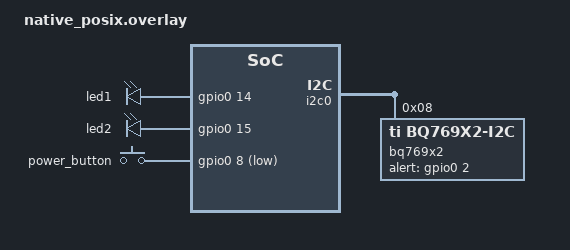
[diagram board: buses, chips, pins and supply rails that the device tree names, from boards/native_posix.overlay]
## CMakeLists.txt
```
# SPDX-License-Identifier: Apache-2.0

cmake_minimum_required(VERSION 3.20.0)
find_package(Zephyr REQUIRED HINTS $ENV{ZEPHYR_BASE})

project(bq769x2_test)

FILE(GLOB app_sources src/*.c)
target_sources(app PRIVATE ${app_sources})

add_subdirectory(../common app)
```

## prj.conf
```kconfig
# SPDX-License-Identifier: Apache-2.0

CONFIG_ZTEST=y

# Required for BMS emulation
CONFIG_EMUL=y
CONFIG_GPIO=y
CONFIG_I2C=y

CONFIG_BMS_IC=y
CONFIG_BMS_IC_MAX_THERMISTORS=2

# enable click-able absolute paths in assert messages
CONFIG_BUILD_OUTPUT_STRIP_PATHS=n
```

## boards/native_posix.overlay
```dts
/*
 * Copyright (c) The Libre Solar Project Contributors
 *
 * SPDX-License-Identifier: Apache-2.0
 */

#include <dt-bindings/bms_ic/bq769x2.h>

/ {
	pcb {
		compatible = "bms";

		type = "Native POSIX dummy";
		version-str = "v0.1";
		version-num = <1>;
	};

	chosen {
		zephyr,console = &uart0;
		zephyr,shell-uart = &uart0;
		zephyr,flash = &flash0;
	};

	leds {
		compatible = "gpio-leds";
		led1: led_0 {
			gpios = <&gpio0 14 GPIO_ACTIVE_HIGH>;
		};
		led2: led_1 {
			gpios = <&gpio0 15 GPIO_ACTIVE_HIGH>;
		};
	};

	gpio_keys {
		compatible = "gpio-keys";
		power_button: button {
			gpios = <&gpio0 8 GPIO_ACTIVE_LOW>;
		};
	};

	aliases {
		led-red = &led1;
		led-green = &led2;
		sw-pwr = &power_button;
                bms-ic = &bq769x2;
	};
};

&i2c0 {
	status = "okay";

	bq769x2: bq76952@8 {
		compatible = "ti,bq769x2-i2c";
		reg = <0x08>;
		alert-gpios = <&gpio0 2 GPIO_ACTIVE_HIGH>;
		used-cell-channels = <0xFFFF>;
		/* all NTCs configured with 18k pull-up */
		ts1-pin-config = <0x07>;
		dchg-pin-config = <0x07>;
		cell-temp-pins = <BQ769X2_PIN_TS1>;
		fet-temp-pin = <BQ769X2_PIN_DCHG>;
		board-max-current = <200>;
		shunt-resistor-uohm = <1500>;
		status = "okay";
	};
};
```

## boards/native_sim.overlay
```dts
/*
 * Copyright (c) The Libre Solar Project Contributors
 *
 * SPDX-License-Identifier: Apache-2.0
 */

#include <dt-bindings/bms_ic/bq769x2.h>

/ {
	pcb {
		compatible = "bms";

		type = "Native Simulator BMS";
		version-str = "v0.1";
		version-num = <1>;
	};

	chosen {
		zephyr,console = &uart0;
		zephyr,shell-uart = &uart0;
		zephyr,flash = &flash0;
	};

	leds {
		compatible = "gpio-leds";
		led1: led_0 {
			gpios = <&gpio0 14 GPIO_ACTIVE_HIGH>;
		};
		led2: led_1 {
			gpios = <&gpio0 15 GPIO_ACTIVE_HIGH>;
		};
	};

	gpio_keys {
		compatible = "gpio-keys";
		power_button: button {
			gpios = <&gpio0 8 GPIO_ACTIVE_LOW>;
		};
	};

	aliases {
		led-red = &led1;
		led-green = &led2;
		sw-pwr = &power_button;
		bms-ic = &bq769x2;
	};
};

&i2c0 {
	status = "okay";

	bq769x2: bq76952@8 {
		compatible = "ti,bq769x2-i2c";
		reg = <0x08>;
		alert-gpios = <&gpio0 2 GPIO_ACTIVE_HIGH>;
		used-cell-channels = <0xFFFF>;
		/* all NTCs configured with 18k pull-up */
		ts1-pin-config = <0x07>;
		dchg-pin-config = <0x07>;
		cell-temp-pins = <BQ769X2_PIN_TS1>;
		fet-temp-pin = <BQ769X2_PIN_DCHG>;
		board-max-current = <200>;
		shunt-resistor-uohm = <1500>;
		status = "okay";
	};
};
```

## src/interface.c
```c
/*
 * Copyright (c) The Libre Solar Project Contributors
 *
 * SPDX-License-Identifier: Apache-2.0
 */

#include <zephyr/drivers/emul.h>
#include <zephyr/ztest.h>

#include "bq769x2_emul.h"
#include "bq769x2_interface.h"
#include <bms/bms.h>

#include "bms_setup.h"

#include <stdio.h>
#include <time.h>

static const struct emul *bms_ic_emul = EMUL_DT_GET(DT_ALIAS(bms_ic));

extern struct bms_context bms;

ZTEST(bq769x2_interface, test_bq769x2_direct_read_u2)
{
    uint16_t u2 = 0;
    int err;

    bq769x2_emul_set_direct_mem(bms_ic_emul, 0, 0x00);
    bq769x2_emul_set_direct_mem(bms_ic_emul, 1, 0x00);
    err = bq769x2_direct_read_u2(bms.ic_dev, 0, &u2);
    zassert_equal(0, err);
    zassert_equal(0, u2);

    bq769x2_emul_set_direct_mem(bms_ic_emul, 0, 0xFF);
    bq769x2_emul_set_direct_mem(bms_ic_emul, 1, 0xFF);
    err = bq769x2_direct_read_u2(bms.ic_dev, 0, &u2);
    zassert_equal(0, err);
    zassert_equal(UINT16_MAX, u2);
}

ZTEST(bq769x2_interface, test_bq769x2_direct_read_i2)
{
    int16_t i2 = 0;
    int err;

    bq769x2_emul_set_direct_mem(bms_ic_emul, 0, 0x00);
    bq769x2_emul_set_direct_mem(bms_ic_emul, 1, 0x00);
    err = bq769x2_direct_read_i2(bms.ic_dev, 0, &i2);
    zassert_equal(0, err);
    zassert_equal(0, i2);

    bq769x2_emul_set_direct_mem(bms_ic_emul, 0, 0xFF);
    bq769x2_emul_set_direct_mem(bms_ic_emul, 1, 0xFF);
    err = bq769x2_direct_read_i2(bms.ic_dev, 0, &i2);
    zassert_equal(0, err);
    zassert_equal(-1, i2);

    bq769x2_emul_set_direct_mem(bms_ic_emul, 0, 0xFF);
    bq769x2_emul_set_direct_mem(bms_ic_emul, 1, 0x7F);
    err = bq769x2_direct_read_i2(bms.ic_dev, 0, &i2);
    zassert_equal(0, err);
    zassert_equal(INT16_MAX, i2);

    bq769x2_emul_set_direct_mem(bms_ic_emul, 0, 0x00);
    bq769x2_emul_set_direct_mem(bms_ic_emul, 1, 0x80);
    err = bq769x2_direct_read_i2(bms.ic_dev, 0, &i2);
    zassert_equal(0, err);
    zassert_equal(INT16_MIN, i2);
}

ZTEST(bq769x2_interface, test_bq769x2_subcmd_cmd_only)
{
    // reset subcommand
    uint8_t subcmd_expected[2] = { 0x12, 0x00 }; // LOWER, UPPER

    // pre-set register
    bq769x2_emul_set_direct_mem(bms_ic_emul, 0x3E, 0xFF);
    bq769x2_emul_set_direct_mem(bms_ic_emul, 0x3F, 0xFF);

    // write subcmd register via API
    int err = bq769x2_subcmd_cmd_only(bms.ic_dev, 0x0012);
    zassert_equal(0, err);

    zassert_equal(subcmd_expected[0], bq769x2_emul_get_direct_mem(bms_ic_emul, 0x3E));
    zassert_equal(subcmd_expected[1], bq769x2_emul_get_direct_mem(bms_ic_emul, 0x3F));
}

ZTEST(bq769x2_interface, test_bq769x2_datamem_read_u1)
{
    uint8_t value = 0;

    bq769x2_emul_set_data_mem(bms_ic_emul, 0x9180, 0xFF);
    bq769x2_emul_set_data_mem(bms_ic_emul, 0x9181, 0x00);
    bq769x2_emul_set_data_mem(bms_ic_emul, 0x9182, 0x00);
    bq769x2_emul_set_data_mem(bms_ic_emul, 0x9183, 0x00);

    uint8_t chk_expected = (uint8_t) ~(0x91 + 0x80 + 0xFF);

    int err = bq769x2_datamem_read_u1(bms.ic_dev, 0x9180, &value);
    zassert_equal(0, err);
    zassert_equal(UINT8_MAX, value);
    zassert_equal(chk_expected, bq769x2_emul_get_direct_mem(bms_ic_emul, 0x60));
}

ZTEST(bq769x2_interface, test_bq769x2_datamem_read_u2)
{
    uint16_t value = 0;

    bq769x2_emul_set_data_mem(bms_ic_emul, 0x9180, 0x00); // LSB
    bq769x2_emul_set_data_mem(bms_ic_emul, 0x9181, 0xFF); // MSB
    bq769x2_emul_set_data_mem(bms_ic_emul, 0x9182, 0x00);
    bq769x2_emul_set_data_mem(bms_ic_emul, 0x9183, 0x00);

    uint8_t chk_expected = (uint8_t) ~(0x91 + 0x80 + 0x00 + 0xFF);

    int err = bq769x2_datamem_read_u2(bms.ic_dev, 0x9180, &value);
    zassert_equal(0, err);
    zassert_equal(0xFF00, value);
    zassert_equal(chk_expected, bq769x2_emul_get_direct_mem(bms_ic_emul, 0x60));
}

ZTEST(bq769x2_interface, test_bq769x2_datamem_read_i1)
{
    int8_t value = 0;

    bq769x2_emul_set_data_mem(bms_ic_emul, 0x9180, 0x80);
    bq769x2_emul_set_data_mem(bms_ic_emul, 0x9181, 0x00);
    bq769x2_emul_set_data_mem(bms_ic_emul, 0x9182, 0x00);
    bq769x2_emul_set_data_mem(bms_ic_emul, 0x9183, 0x00);

    uint8_t chk_expected = (uint8_t) ~(0x91 + 0x80 + 0x80);

    int err = bq769x2_datamem_read_i1(bms.ic_dev, 0x9180, &value);
    zassert_equal(0, err);
    zassert_equal(INT8_MIN, value);
    zassert_equal(chk_expected, bq769x2_emul_get_direct_mem(bms_ic_emul, 0x60));
}

ZTEST(bq769x2_interface, test_bq769x2_datamem_read_i2)
{
    int16_t value = 0;

    bq769x2_emul_set_data_mem(bms_ic_emul, 0x9180, 0x00); // LSB
    bq769x2_emul_set_data_mem(bms_ic_emul, 0x9181, 0x80); // MSB
    bq769x2_emul_set_data_mem(bms_ic_emul, 0x9182, 0x00);
    bq769x2_emul_set_data_mem(bms_ic_emul, 0x9183, 0x00);

    uint8_t chk_expected = (uint8_t) ~(0x91 + 0x80 + 0x00 + 0x80);

    int err = bq769x2_datamem_read_i2(bms.ic_dev, 0x9180, &value);
    zassert_equal(0, err);
    zassert_equal(INT16_MIN, value);
    zassert_equal(chk_expected, bq769x2_emul_get_direct_mem(bms_ic_emul, 0x60));
}

ZTEST(bq769x2_interface, test_bq769x2_datamem_read_f4)
{
    float value = 0.0F;

    bq769x2_emul_set_data_mem(bms_ic_emul, 0x9180, 0xB6); // LSB
    bq769x2_emul_set_data_mem(bms_ic_emul, 0x9181, 0xF3);
    bq769x2_emul_set_data_mem(bms_ic_emul, 0x9182, 0x9D);
    bq769x2_emul_set_data_mem(bms_ic_emul, 0x9183, 0x3F); // MSB

    uint8_t chk_expected = (uint8_t) ~(0x91 + 0x80 + 0xB6 + 0xF3 + 0x9D + 0x3F);

    int err = bq769x2_datamem_read_f4(bms.ic_dev, 0x9180, &value);
    zassert_equal(0, err);
    zassert_equal(1.234F, value);
    zassert_equal(chk_expected, bq769x2_emul_get_direct_mem(bms_ic_emul, 0x60));
}

ZTEST(bq769x2_interface, test_bq769x2_datamem_write_u1)
{
    uint8_t data_expected[] = { 0xFF };
    uint8_t chk_expected = (uint8_t) ~(0x91 + 0x80 + 0xFF);
    uint8_t len_expected = 4 + sizeof(data_expected);

    bq769x2_config_update_mode(bms.ic_dev, true);

    int err = bq769x2_datamem_write_u1(bms.ic_dev, 0x9180, UINT8_MAX);
    zassert_equal(0, err);

    zassert_equal(data_expected[0], bq769x2_emul_get_direct_mem(bms_ic_emul, 0x40));
    zassert_equal(chk_expected, bq769x2_emul_get_direct_mem(bms_ic_emul, 0x60));
    zassert_equal(len_expected, bq769x2_emul_get_direct_mem(bms_ic_emul, 0x61));

    bq769x2_config_update_mode(bms.ic_dev, false);
}

ZTEST(bq769x2_interface, test_bq769x2_datamem_write_u2)
{
    uint8_t data_expected[] = { 0x00, 0xFF };
    uint8_t chk_expected = (uint8_t) ~(0x91 + 0x80 + 0xFF);
    uint8_t len_expected = 4 + sizeof(data_expected);

    bq769x2_config_update_mode(bms.ic_dev, true);

    int err = bq769x2_datamem_write_u2(bms.ic_dev, 0x9180, 0xFF00);
    zassert_equal(0, err);

    zassert_equal(data_expected[0], bq769x2_emul_get_direct_mem(bms_ic_emul, 0x40));
    zassert_equal(data_expected[1], bq769x2_emul_get_direct_mem(bms_ic_emul, 0x41));
    zassert_equal(chk_expected, bq769x2_emul_get_direct_mem(bms_ic_emul, 0x60));
    zassert_equal(len_expected, bq769x2_emul_get_direct_mem(bms_ic_emul, 0x61));

    bq769x2_config_update_mode(bms.ic_dev, false);
}

ZTEST(bq769x2_interface, test_bq769x2_datamem_write_i1)
{
    uint8_t data_expected[] = { 0x80 };
    uint8_t chk_expected = (uint8_t) ~(0x91 + 0x80 + 0x80);
    uint8_t len_expected = 4 + sizeof(data_expected);

    bq769x2_config_update_mode(bms.ic_dev, true);

    int err = bq769x2_datamem_write_i1(bms.ic_dev, 0x9180, INT8_MIN);
    zassert_equal(0, err);

    zassert_equal(data_expected[0], bq769x2_emul_get_direct_mem(bms_ic_emul, 0x40));
    zassert_equal(chk_expected, bq769x2_emul_get_direct_mem(bms_ic_emul, 0x60));
    zassert_equal(len_expected, bq769x2_emul_get_direct_mem(bms_ic_emul, 0x61));

    bq769x2_config_update_mode(bms.ic_dev, false);
}

ZTEST(bq769x2_interface, test_bq769x2_datamem_write_i2)
{
    uint8_t data_expected[] = { 0x00, 0x80 };
    uint8_t chk_expected = (uint8_t) ~(0x91 + 0x80 + 0x00 + 0x80);
    uint8_t len_expected = 4 + sizeof(data_expected);

    bq769x2_config_update_mode(bms.ic_dev, true);

    int err = bq769x2_datamem_write_i2(bms.ic_dev, 0x9180, INT16_MIN);
    zassert_equal(0, err);

    zassert_equal(data_expected[0], bq769x2_emul_get_direct_mem(bms_ic_emul, 0x40));
    zassert_equal(data_expected[1], bq769x2_emul_get_direct_mem(bms_ic_emul, 0x41));
    zassert_equal(chk_expected, bq769x2_emul_get_direct_mem(bms_ic_emul, 0x60));
    zassert_equal(len_expected, bq769x2_emul_get_direct_mem(bms_ic_emul, 0x61));

    bq769x2_config_update_mode(bms.ic_dev, false);
}

ZTEST(bq769x2_interface, test_bq769x2_datamem_write_f4)
{
    uint8_t data_expected[] = { 0xB6, 0xF3, 0x9D, 0x3F };
    uint8_t chk_expected = (uint8_t) ~(0x91 + 0x80 + 0xB6 + 0xF3 + 0x9D + 0x3F);
    uint8_t len_expected = 4 + sizeof(data_expected);

    bq769x2_config_update_mode(bms.ic_dev, true);

    int err = bq769x2_datamem_write_f4(bms.ic_dev, 0x9180, 1.234F);
    zassert_equal(0, err);

    zassert_equal(data_expected[0], bq769x2_emul_get_direct_mem(bms_ic_emul, 0x40));
    zassert_equal(data_expected[1], bq769x2_emul_get_direct_mem(bms_ic_emul, 0x41));
    zassert_equal(data_expected[2], bq769x2_emul_get_direct_mem(bms_ic_emul, 0x42));
    zassert_equal(data_expected[3], bq769x2_emul_get_direct_mem(bms_ic_emul, 0x43));
    zassert_equal(chk_expected, bq769x2_emul_get_direct_mem(bms_ic_emul, 0x60));
    zassert_equal(len_expected, bq769x2_emul_get_direct_mem(bms_ic_emul, 0x61));

    bq769x2_config_update_mode(bms.ic_dev, false);
}

static void *bq769x2_setup(void)
{
    common_setup_bms_defaults(&bms);

    return NULL;
}

ZTEST_SUITE(bq769x2_interface, NULL, bq769x2_setup, NULL, NULL, NULL);
```
